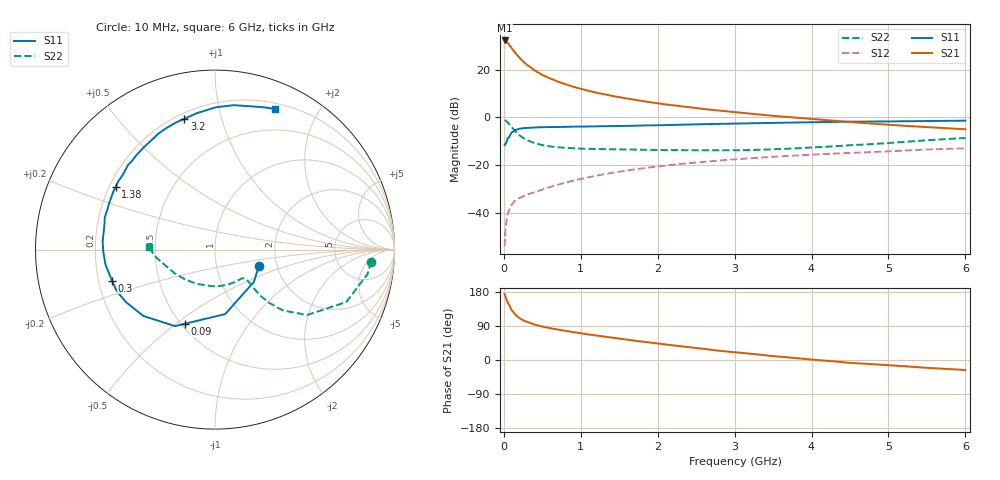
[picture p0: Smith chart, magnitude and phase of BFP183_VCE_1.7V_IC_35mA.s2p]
! Infineon Technologies  Discrete & RF Semiconductors
! BFP183
! VCE = 1.7 V,  IC =  35 mA
! Common Emitter S-Parameters:  Jan 2016
# GHz  S  MA  R  50
!  f  S11  S21  S12  S22
! GHz  MAG  ANG  MAG  ANG  MAG  ANG  MAG  ANG
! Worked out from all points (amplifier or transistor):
!   210 points, 10 MHz to 6 GHz, reference 50 ohm
!   highest |S21| = 32.2 dB at 10 MHz (marker M1)
!   |S21| within 3 dB of that: start of sweep to 96.84 MHz
!   unconditionally stable (mu >= 1): start of sweep to 13.94 MHz; 373.6 MHz to end of sweep
!   at 185 MHz: K = 0.66, MSG = 29.9 dB, |S12| = -34.2 dB
!   at 1.52 GHz: K = 1.37, MAG = 11.9 dB, |S12| = -22.7 dB
!   at 6 GHz: K = 1.08, MAG = 2.3 dB, |S12| = -13.0 dB
!   S11 on the Smith chart (normalised r, x): 10 MHz: 1.61, -0.31; 90 MHz: 0.52, -0.54; 300 MHz: 0.26, -0.14; 1.38 GHz: 0.23, +0.28; 3.2 GHz: 0.23, +0.77; 6 GHz: 0.26, +1.48
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0.01  0.2613 -20.2  40.79 174.0  0.002 75.8  0.8726 -4.4
0.02  0.2815 -39.7  40.39 168.2  0.0043 76.1  0.8603 -9.2
0.05  0.3637 -81.0  36.8 151.4  0.0094 69.8  0.7876 -21.8
0.09  0.4453 -112.0  29.81 136.5  0.0137 56.6  0.6567 -32.2
0.1  0.481 -117.6  28.47 131.7  0.0149 54.5  0.6282 -35.5
0.15  0.5441 -137.2  22.22 119.1  0.0181 48.9  0.507 -41.9
0.2  0.5753 -149.3  17.84 110.7  0.0202 47.7  0.4246 -44.5
0.24  0.5899 -155.5  15.38 106.1  0.0216 48.8  0.3814 -45.2
0.26  0.595 -158.3  14.33 103.9  0.0223 49.1  0.3631 -45.4
0.3  0.5995 -163.3  12.58 100.4  0.024 49.5  0.3332 -45.2
0.4  0.6157 -172.0  9.616 93.4  0.0271 51.5  0.2878 -44.5
0.5  0.6224 -178.8  7.73 88.3  0.0308 53.3  0.2613 -43.8
0.7  0.6279 171.3  5.586 80.2  0.0389 56.9  0.2361 -43.6
0.9  0.6399 163.8  4.388 73.8  0.0471 58.5  0.2252 -45.1
1.02  0.6406 159.0  3.869 69.8  0.052 58.8  0.2203 -46.6
1.38  0.6549 147.6  2.873 59.8  0.0677 58.0  0.2141 -53.0
2.02  0.6844 129.8  1.941 43.1  0.0944 53.3  0.2079 -68.2
3.1  0.7442 105.1  1.239 18.6  0.1354 43.0  0.2049 -103.0
3.2  0.7486 103.2  1.196 16.7  0.1388 42.0  0.2062 -106.6
4.1  0.7959 88.2  0.898 -0.4  0.1684 33.4  0.2381 -137.4
5.1  0.8237 75.6  0.681 -15.0  0.1971 24.9  0.2967 -164.4
6  0.8522 66.9  0.562 -26.5  0.2245 15.7  0.3702 177.8
